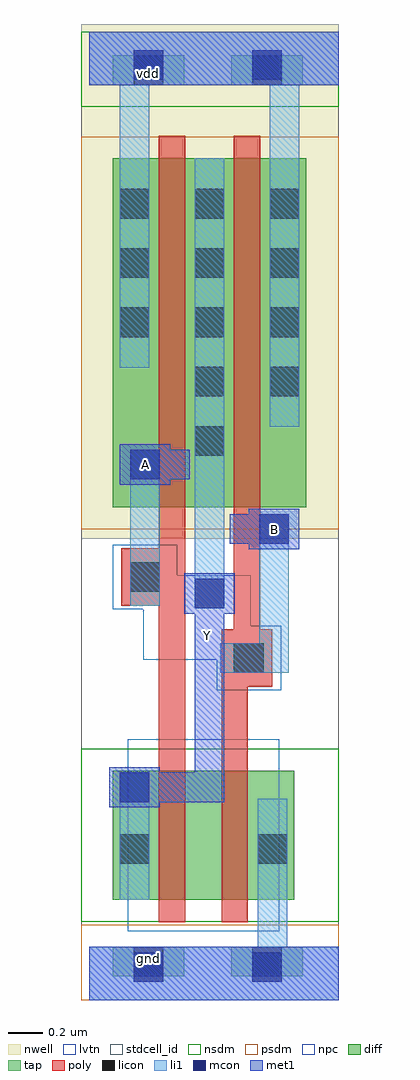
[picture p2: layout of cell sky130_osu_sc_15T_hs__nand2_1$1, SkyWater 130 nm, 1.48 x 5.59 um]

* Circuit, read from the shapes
.subckt sky130_osu_sc_15T_hs__nand2_1$1 A B Y gnd vdd
XM1 n1 A Y gnd sky130_fd_pr__nfet_01v8_lvt w=0.74 l=0.15
XM2 gnd B n1 gnd sky130_fd_pr__nfet_01v8_lvt w=0.74 l=0.15
XM3 Y A vdd vdd sky130_fd_pr__pfet_01v8 w=2 l=0.15
XM4 vdd B Y vdd sky130_fd_pr__pfet_01v8 w=2 l=0.15
.ends

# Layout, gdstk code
import gdstk
lib = gdstk.Library(unit=1e-6, precision=1e-09)
def R(c, l, rs):  # rectangles x0, y0, x1, y1
    for r in rs: c.add(gdstk.rectangle(r[:2], r[2:], *l))
def A(c, l, x, y, w, h, nx, ny, dx, dy):  # array of equal rectangles
    R(c, l, [(x+i*dx, y+j*dy, x+i*dx+w, y+j*dy+h) for i in range(nx) for j in range(ny)])
nwell = (64, 20)
diff = (65, 20)
tap = (65, 44)
poly = (66, 20)
licon = (66, 44)
li1 = (67, 20)
mcon = (67, 44)
met1 = (68, 20)
stdcell_id = (81, 4)
nsdm = (93, 44)
psdm = (94, 20)
npc = (95, 20)
lvtn = (125, 44)

sky130_osu_sc_15t_hs__na = lib.new_cell('sky130_osu_sc_15T_hs__nand2_1$1')
R(sky130_osu_sc_15t_hs__na, nwell, [(-0.045,2.645,1.43,5.595)])
R(sky130_osu_sc_15t_hs__na, diff, [(0.135,0.575,1.175,1.315), (0.135,2.825,1.245,4.825)])
R(sky130_osu_sc_15t_hs__na, tap, [(0.135,0.135,0.545,0.305), (0.815,0.135,1.225,0.305), (0.135,5.245,0.545,5.415), (0.815,5.245,1.225,5.415)])
R(sky130_osu_sc_15t_hs__na, poly, [(0.4,0.445,0.55,2.26), (0.76,0.445,0.91,1.795), (0.76,1.795,1.05,2.125), (0.83,2.125,0.98,4.955), (0.185,2.26,0.55,2.59), (0.4,2.59,0.55,4.955)])
A(sky130_osu_sc_15t_hs__na, licon, 0.175, 3.8, 0.17, 0.17, 3, 3, 0.43, 0.34)
R(sky130_osu_sc_15t_hs__na, licon, [(0.255,0.135,0.425,0.305), (0.935,0.135,1.105,0.305), (0.175,0.78,0.345,0.95), (0.965,0.78,1.135,0.95), (0.83,1.875,1,2.045), (0.235,2.34,0.405,2.51), (0.605,3.12,0.775,3.29), (0.605,3.46,0.775,3.63), (1.035,3.46,1.205,3.63), (0.255,5.245,0.425,5.415), (0.935,5.245,1.105,5.415)])
R(sky130_osu_sc_15t_hs__na, li1, [(0,0,1.43,0.305), (0.965,0.305,1.135,1.155), (0.175,0.575,0.345,1.305), (0.75,1.875,1.145,2.045), (0.975,2.045,1.145,2.785), (0.605,2.245,0.775,4.825), (0.235,2.26,0.405,3.155), (1.035,3.285,1.205,5.245), (0.175,3.625,0.345,5.245), (0,5.245,1.43,5.55)])
R(sky130_osu_sc_15t_hs__na, mcon, [(0.255,0.105,0.425,0.275), (0.935,0.105,1.105,0.275), (0.175,1.135,0.345,1.305), (0.605,2.245,0.775,2.415), (0.975,2.615,1.145,2.785), (0.235,2.985,0.405,3.155), (0.255,5.275,0.425,5.445), (0.935,5.275,1.105,5.445)])
R(sky130_osu_sc_15t_hs__na, met1, [(0,0,1.43,0.305), (0.115,1.105,0.405,1.135), (0.115,1.135,0.775,1.305), (0.115,1.305,0.405,1.335), (0.605,1.305,0.775,2.215), (0.545,2.215,0.835,2.445), (0.915,2.585,1.205,2.615), (0.805,2.615,1.205,2.785), (0.915,2.785,1.205,2.815), (0.175,2.955,0.465,2.985), (0.175,2.985,0.575,3.155), (0.175,3.155,0.465,3.185), (0,5.245,1.43,5.55)])
R(sky130_osu_sc_15t_hs__na, stdcell_id, [(-0.045,0,1.43,5.55)])
R(sky130_osu_sc_15t_hs__na, nsdm, [(-0.045,0.45,1.43,1.44), (-0.045,5.12,1.43,5.55)])
R(sky130_osu_sc_15t_hs__na, psdm, [(-0.045,0,1.43,0.43), (-0.045,2.7,1.43,4.95)])
R(sky130_osu_sc_15t_hs__na, npc, [(0.73,1.775,1.1,1.95), (0.31,1.95,1.1,2.145), (0.31,2.145,0.925,2.24), (0.135,2.24,0.925,2.435), (0.135,2.435,0.505,2.61)])
R(sky130_osu_sc_15t_hs__na, lvtn, [(0.22,0.395,1.09,1.495)])
sky130_osu_sc_15t_hs__na.add(gdstk.Label('gnd', (0.34,0.24), layer=68, texttype=16))
sky130_osu_sc_15t_hs__na.add(gdstk.Label('vdd', (0.34,5.31), layer=68, texttype=16))
sky130_osu_sc_15t_hs__na.add(gdstk.Label('Y', (0.68,2.09), layer=68, texttype=5))
sky130_osu_sc_15t_hs__na.add(gdstk.Label('A', (0.32,3.07), layer=68, texttype=5))
sky130_osu_sc_15t_hs__na.add(gdstk.Label('B', (1.06,2.7), layer=68, texttype=5))

lib.write_gds('sky130_osu_sc_15T_hs__nand2_1_1.gds')
